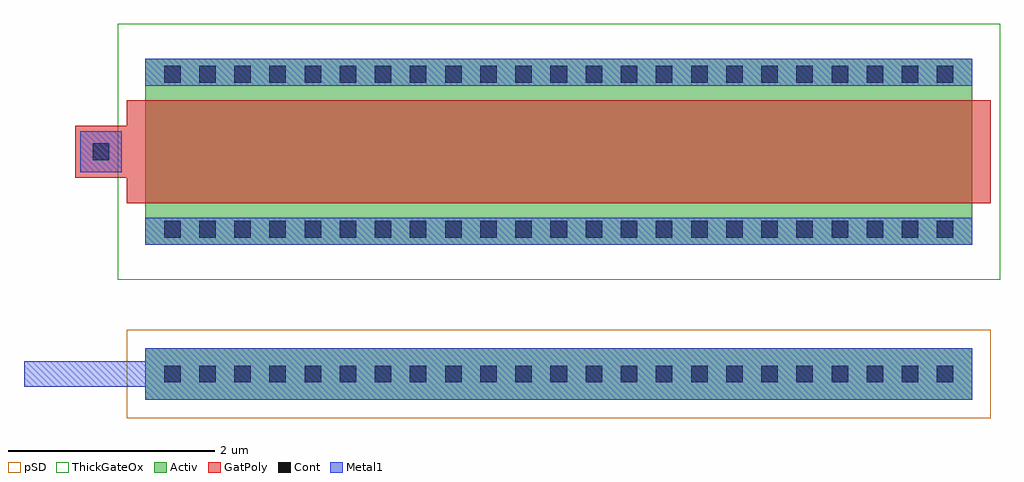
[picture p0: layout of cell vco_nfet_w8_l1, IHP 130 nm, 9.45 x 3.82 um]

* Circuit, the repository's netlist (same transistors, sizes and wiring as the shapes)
* extracted by klt extract --deck sg13cmos5l

* cell vco_nfet_w8_l1
* pin vsubs
.SUBCKT vco_nfet_w8_l1 vsubs
* device instance $1 r0 *1 5.3,3.36 nfet
X$1 \$2 \$1 \$3 vsubs sg13_hv_nmos L=1U W=8U AS=3.2P AD=3.2P PS=16.8U PD=16.8U
.ENDS vco_nfet_w8_l1

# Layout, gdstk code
import gdstk
lib = gdstk.Library(unit=1e-6, precision=1e-09)
def R(c, l, rs):  # rectangles x0, y0, x1, y1
    for r in rs: c.add(gdstk.rectangle(r[:2], r[2:], *l))
def A(c, l, x, y, w, h, nx, ny, dx, dy):  # array of equal rectangles
    R(c, l, [(x+i*dx, y+j*dy, x+i*dx+w, y+j*dy+h) for i in range(nx) for j in range(ny)])
Activ = (1, 0)
GatPoly = (5, 0)
Cont = (6, 0)
Metal1 = (8, 0)
pSD = (14, 0)
ThickGateOx = (44, 0)

vco_nfet_w8_l1 = lib.new_cell('vco_nfet_w8_l1')
R(vco_nfet_w8_l1, Activ, [(1.3,0.96,9.3,1.46), (1.3,2.46,9.3,4.26)])
R(vco_nfet_w8_l1, GatPoly, [(1.12,2.86,9.48,3.86), (0.62,3.11,1.12,3.61)])
A(vco_nfet_w8_l1, Cont, 1.48, 1.13, 0.16, 0.16, 23, 2, 0.34, 1.4)
A(vco_nfet_w8_l1, Cont, 1.48, 4.03, 0.16, 0.16, 23, 1, 0.34, 0)
R(vco_nfet_w8_l1, Cont, [(0.79,3.28,0.95,3.44)])
R(vco_nfet_w8_l1, Metal1, [(1.3,0.96,9.3,1.46), (0.125,1.085,1.3,1.335), (1.3,2.46,9.3,2.72), (0.67,3.16,1.07,3.56), (1.3,4,9.3,4.26)])
R(vco_nfet_w8_l1, pSD, [(1.12,0.78,9.48,1.64)])
R(vco_nfet_w8_l1, ThickGateOx, [(1.03,2.12,9.57,4.6)])

lib.write_gds('vco_nfet_w8_l1.gds')
